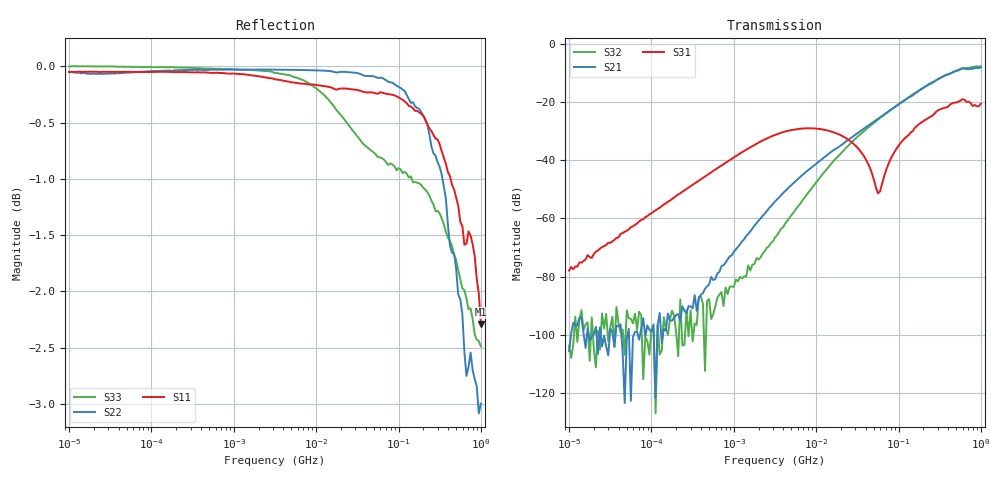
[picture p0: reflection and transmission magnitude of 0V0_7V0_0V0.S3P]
!Keysight Technologies,E5080A,MY55100144,A.11.70.03
!Date: Monday, November 13, 2017 17:26:10
!Correction: S11(Full 3 Port(1,2,3))
!S12(Full 3 Port(1,2,3))
!S13(Full 3 Port(1,2,3))
!S21(Full 3 Port(1,2,3))
!S22(Full 3 Port(1,2,3))
!S23(Full 3 Port(1,2,3))
!S31(Full 3 Port(1,2,3))
!S32(Full 3 Port(1,2,3))
!S33(Full 3 Port(1,2,3))
!S3P File: Measurements: <S11,S12,S13>,
!<S21,S22,S23>,
!<S31,S32,S33>:Log Frequency Sweep
# Hz S  RI  R 50
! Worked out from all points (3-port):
!   201 points, 10 kHz to 1 GHz, reference 50 ohm
!   strongest paths, dB at 10 kHz, 177.8 kHz, 3.162 MHz, 56.23 MHz, 1 GHz:
!     S31: -78.0, -53.3, -31.3, -51.4, -20.5
!     S21: -105.6, -95.2, -54.2, -25.7, -8.0
!     S32: -103.8, -91.8, -66.6, -26.0, -7.6
!   lowest |S11| = -2.3 dB at 1 GHz (marker M1), VSWR 7.62, Z = 381 + j0.337 ohm
!   |S11| at or under -10 dB: nowhere
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10000  0.994 -0.00566  1.18e-05 -1.08e-05  -2.31e-06 0.000135
       5.01e-06 -1.52e-06  0.4708 -0.8759  -1.96e-05 -1.56e-05
       -5.12e-06 0.000126  3.23e-06 5.63e-06  0.9998 -0.00239
50118.72  0.9939 -0.0269  -3e-05 -1.1e-05  -1.85e-05 0.000614
          -5.13e-06 -6.84e-06  -0.7917 -0.6001  -3.93e-06 -5.12e-06
          4.54e-06 0.000614  -1.91e-05 1.79e-05  0.9994 -0.00575
630957.3  0.9382 -0.3264  -9.48e-05 3.64e-05  0.00169 0.00713
          -9.93e-05 5.51e-05  -0.9953 -0.0506  -2.42e-05 3.28e-05
          0.00172 0.00711  -1.49e-05 4.08e-05  0.9956 -0.0606
3162278  0.1597 -0.9738  -0.00134 0.00141  0.0207 0.0179
         -0.00133 0.00142  -0.9966 0.00463  -0.000398 0.000221
         0.0208 0.0177  -0.000414 0.000216  0.95 -0.2891
2.113489e7  -0.9386 -0.2733  -0.00135 0.0191  0.0208 -0.0154
            -0.00132 0.0192  -0.9895 0.0981  -0.00862 0.0115
            0.0208 -0.0154  -0.00862 0.0115  -0.018 -0.9486
5.623413e7  -0.971 0.0492  0.00874 0.0511  0.00273 -0.00013
            0.00878 0.0511  -0.9536 0.2587  -0.00546 0.0499
            0.0027 -0.000136  -0.00535 0.05  -0.761 -0.5009
1.059254e8  -0.9339 0.253  0.0374 0.0895  0.00775 0.0183
            0.0375 0.0896  -0.8608 0.4644  0.023 0.0945
            0.00775 0.0183  0.0229 0.0945  -0.8952 -0.0911
3.758374e8  -0.3694 0.8262  0.29 0.0335  0.0807 -0.00582
            0.2902 0.0334  0.0977 0.8679  0.2899 0.0576
            0.0806 -0.00581  0.2897 0.0576  -0.4869 0.6897
7.079458e8  0.4636 0.7059  0.2003 -0.3128  0.012 -0.1014
            0.2 -0.3132  0.6995 0.226  0.2465 -0.303
            0.0118 -0.1015  0.2467 -0.3029  0.2568 0.7363
1e9  0.7679 0.000182  -0.0998 -0.3847  -0.0561 -0.0756
     -0.1003 -0.3847  0.5905 -0.3906  -0.0457 -0.4149
     -0.0561 -0.076  -0.0454 -0.4149  0.6825 0.3126
